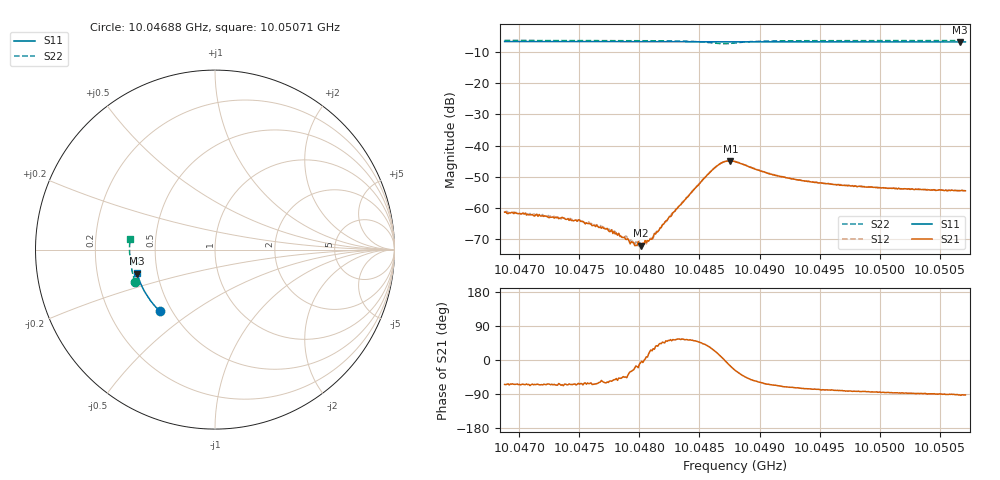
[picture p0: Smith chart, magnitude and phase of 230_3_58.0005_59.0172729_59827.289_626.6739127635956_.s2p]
#  HZ  S  RI  R  50.00
! Rohde & Schwarz Vector Network Analyzer
! Rohde-Schwarz,ZNB20-2Port,1311601062101988,3.16
! Created: UTC 3/21/2024, 1:00:38 AM
! freq[Hz]  re:S11  im:S11  re:S21  im:S21  re:S12  im:S12  re:S22  im:S22
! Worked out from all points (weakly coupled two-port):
!   401 points, 10.04688 GHz to 10.05071 GHz, reference 50 ohm
!   highest |S21| = -44.91 dB at 10.04876 GHz (marker M1); lowest = -72.1 dB at 10.04801 GHz (marker M2)
!   lowest |S11| = -6.9 dB at 10.05067 GHz (marker M3), VSWR 2.66, Z = 19.1 - j6.43 ohm
!   |S11| at or under -10 dB: nowhere
!   |S22| runs from -7.4 to -6.4 dB; largest |S21 - S12| = 0.00038
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1.0046878e10  -0.306 -0.3444  0.000372 -0.000777  0.000409 -0.000751  -0.4453 -0.178
1.0047281e10  -0.325 -0.3252  0.000298 -0.000656  0.000349 -0.000648  -0.4539 -0.1518
1.0047521e10  -0.3357 -0.3136  0.000285 -0.000543  0.000297 -0.000543  -0.4584 -0.1355
1.0047693e10  -0.343 -0.3049  0.000272 -0.000414  0.000289 -0.000417  -0.4612 -0.1232
1.0047808e10  -0.3477 -0.2989  0.00026 -0.000298  0.000269 -0.000286  -0.4628 -0.1148
1.0047856e10  -0.3498 -0.2964  0.000235 -0.000247  0.000233 -0.000245  -0.4633 -0.1114
1.0047895e10  -0.3515 -0.2945  0.000216 -0.00023  0.000263 -0.000234  -0.4638 -0.1085
1.0047962e10  -0.3542 -0.2909  0.000235 -8.94e-05  0.000238 -9.86e-05  -0.4644 -0.1031
1.004801e10  -0.3562 -0.2885  0.000247 -3.19e-05  0.000276 -2.4e-05  -0.4648 -0.0992
1.0048048e10  -0.3576 -0.2865  0.000304 1.3e-05  0.00029 2.92e-05  -0.4652 -0.0964
1.0048096e10  -0.3595 -0.2839  0.000283 0.000142  0.00029 0.000157  -0.4654 -0.0923
1.0048163e10  -0.3622 -0.2803  0.000331 0.000293  0.00033 0.00031  -0.4653 -0.0864
1.0048288e10  -0.367 -0.2736  0.000519 0.000696  0.000496 0.00073  -0.4643 -0.0747
1.0048604e10  -0.3781 -0.2562  0.0035 0.00199  0.0034 0.00218  -0.4364 -0.0463
1.0048691e10  -0.3812 -0.2514  0.00532 0.000516  0.00532 0.000813  -0.4214 -0.0577
1.0048758e10  -0.3833 -0.2478  0.00546 -0.00158  0.00558 -0.00122  -0.4235 -0.0736
1.0048796e10  -0.3846 -0.246  0.00493 -0.00252  0.00514 -0.00223  -0.4303 -0.0794
1.0049103e10  -0.3951 -0.2284  0.00143 -0.00315  0.00163 -0.00309  -0.4667 -0.0606
1.0049439e10  -0.4052 -0.2087  0.000585 -0.00255  0.000768 -0.00253  -0.4744 -0.0316
1.0050081e10  -0.4218 -0.1699  0.00014 -0.00207  0.000279 -0.00211  -0.4761 0.0157
1.0050666e10  -0.4338 -0.1333  -6.75e-05 -0.00191  2.97e-05 -0.00189  -0.473 0.0554
1.0050714e10  -0.4347 -0.1304  -7.04e-05 -0.00189  2.89e-05 -0.00189  -0.4725 0.0588
